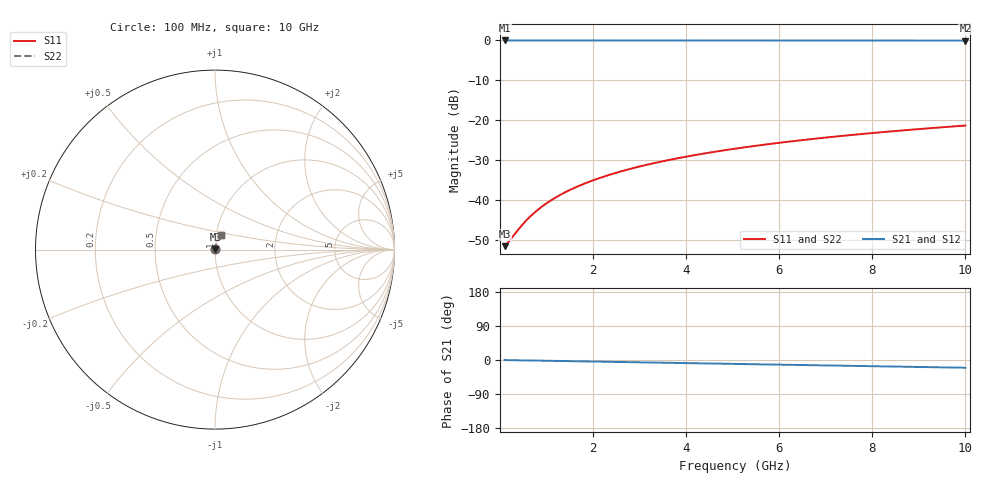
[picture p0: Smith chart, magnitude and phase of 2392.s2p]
# Hz S RI R 50.00
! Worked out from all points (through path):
!   100 points, 100 MHz to 10 GHz, reference 50 ohm
!   highest |S21| = -0.02 dB at 100 MHz (marker M1); lowest = -0.1 dB at 10 GHz (marker M2)
!   group delay of S21, straight-line fit = 5.67 ps
!   lowest |S11| = -51.5 dB at 100 MHz (marker M3), VSWR 1.01, Z = 50.3 + j0.0873 ohm
!   |S11| at or under -10 dB: start of sweep to end of sweep
!   |S22| runs from -51.5 to -21.3 dB; largest |S21 - S12| = 0
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1e8  0.00251 0.000869  0.9975 -0.00355  0.9975 -0.00355  0.00251 0.000869
2e8  0.00254 0.00174  0.9974 -0.0071  0.9974 -0.0071  0.00254 0.00174
4e8  0.0026 0.00347  0.9973 -0.0142  0.9973 -0.0142  0.0026 0.00347
5e8  0.00263 0.00434  0.9973 -0.0177  0.9973 -0.0177  0.00263 0.00434
6e8  0.00267 0.00521  0.9972 -0.0213  0.9972 -0.0213  0.00267 0.00521
7e8  0.00272 0.00608  0.9971 -0.0248  0.9971 -0.0248  0.00272 0.00608
8e8  0.00277 0.00694  0.997 -0.0284  0.997 -0.0284  0.00277 0.00694
1e9  0.00289 0.00867  0.9967 -0.0355  0.9967 -0.0355  0.00289 0.00867
1.2e9  0.00303 0.0104  0.9964 -0.0426  0.9964 -0.0426  0.00303 0.0104
1.5e9  0.00329 0.013  0.9959 -0.0532  0.9959 -0.0532  0.00329 0.013
1.8e9  0.00361 0.0156  0.9952 -0.0638  0.9952 -0.0638  0.00361 0.0156
2.1e9  0.00398 0.0182  0.9944 -0.0745  0.9944 -0.0745  0.00398 0.0182
2.5e9  0.00455 0.0216  0.9931 -0.0886  0.9931 -0.0886  0.00455 0.0216
2.9e9  0.00523 0.025  0.9917 -0.1027  0.9917 -0.1027  0.00523 0.025
3.4e9  0.0062 0.0292  0.9895 -0.1204  0.9895 -0.1204  0.0062 0.0292
4.2e9  0.00808 0.0359  0.9854 -0.1485  0.9854 -0.1485  0.00808 0.0359
5.1e9  0.0106 0.0433  0.9798 -0.18  0.9798 -0.18  0.0106 0.0433
5.9e9  0.0133 0.0497  0.974 -0.2078  0.974 -0.2078  0.0133 0.0497
6.7e9  0.0163 0.0559  0.9672 -0.2354  0.9672 -0.2354  0.0163 0.0559
7.5e9  0.0197 0.0619  0.9597 -0.2628  0.9597 -0.2628  0.0197 0.0619
8.4e9  0.0239 0.0685  0.9502 -0.2933  0.9502 -0.2933  0.0239 0.0685
1e10  0.0324 0.0795  0.9309 -0.3467  0.9309 -0.3467  0.0324 0.0795
